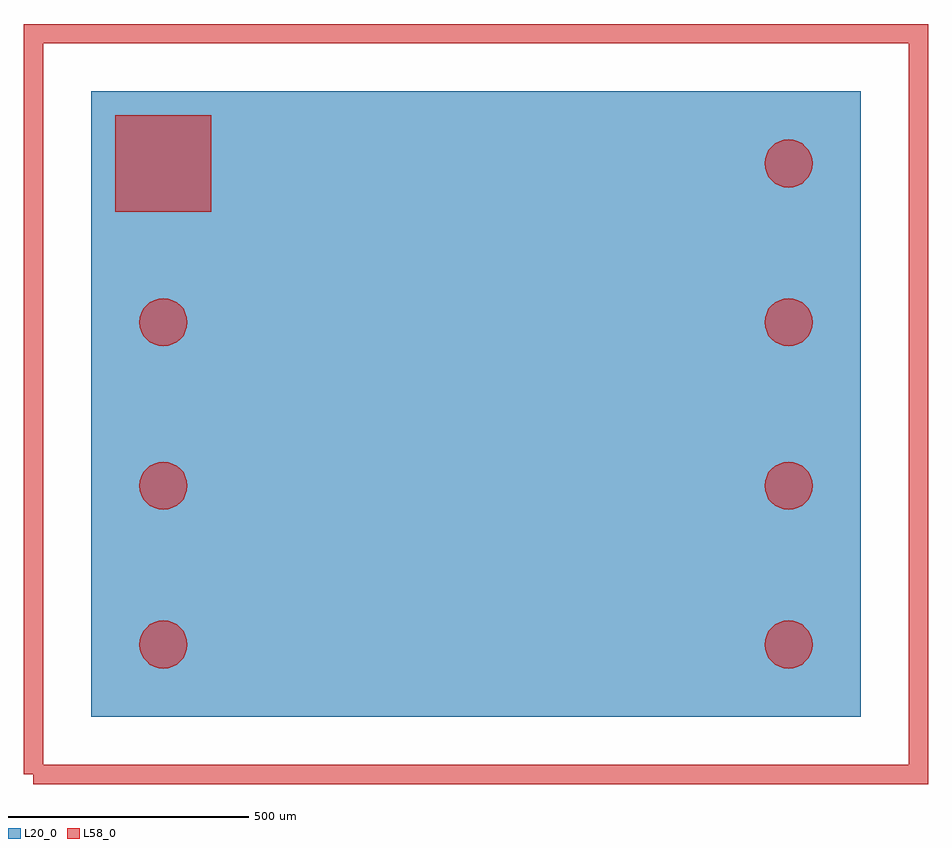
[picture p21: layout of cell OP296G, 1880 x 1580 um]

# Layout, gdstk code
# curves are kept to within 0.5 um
import gdstk
lib = gdstk.Library(unit=1e-6, precision=1e-09)
def R(c, l, rs):  # rectangles x0, y0, x1, y1
    for r in rs: c.add(gdstk.rectangle(r[:2], r[2:], *l))
def P(c, l, *ps):  # polygons
    for p in ps: c.add(gdstk.Polygon(p, *l))
L20_0 = (20, 0)
L58_0 = (58, 0)

chip_pin_1 = lib.new_cell('chip_pin_1')
R(chip_pin_1, L58_0, [(-100,-100,100,100)])

chip_pin = lib.new_cell('chip_pin')
P(chip_pin, L58_0, [(50,0),(49,10),(42,28),(28,42),(10,49),(0,50),(-10,49),(-28,42),(-42,28),(-49,10),(-50,0),(-49,-10),(-42,-28),(-28,-42),(-10,-49),(0,-50),(10,-49),(28,-42),(42,-28),(49,-10)])

op296g = lib.new_cell('OP296G')
R(op296g, L20_0, [(-800,-650,800,650)])
op296g.add(gdstk.FlexPath([(-920,-770),(920,-770),(920,770),(-920,770),(-920,-770)], 40, ends="flush", simple_path=True, layer=58, datatype=0))  # L58_0
op296g.add(gdstk.Reference(chip_pin_1, (-650,500)))
op296g.add(gdstk.Reference(chip_pin, (-650,170)))
op296g.add(gdstk.Reference(chip_pin, (-650,-170)))
op296g.add(gdstk.Reference(chip_pin, (-650,-500)))
op296g.add(gdstk.Reference(chip_pin, (650,-500)))
op296g.add(gdstk.Reference(chip_pin, (650,-170)))
op296g.add(gdstk.Reference(chip_pin, (650,170)))
op296g.add(gdstk.Reference(chip_pin, (650,500)))

lib.write_gds('OP296G.gds')
